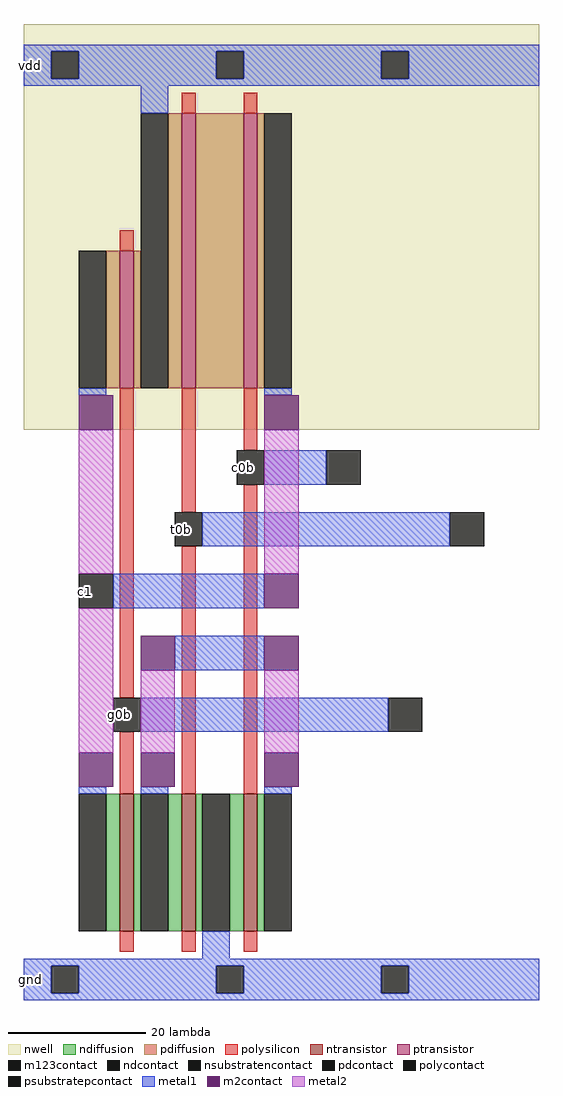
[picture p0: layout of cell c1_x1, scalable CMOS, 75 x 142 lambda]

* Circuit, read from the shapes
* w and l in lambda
.subckt c1_x1 c0b c1 g0b t0b vdd gnd
M1 n1 g0b c1 gnd nfet w=20 l=2
M2 gnd t0b n1 gnd nfet w=20 l=2
M3 n1 c0b gnd gnd nfet w=20 l=2
M4 vdd g0b c1 vdd pfet w=20 l=2
M5 n2 t0b vdd vdd pfet w=40 l=2
M6 c1 c0b n2 vdd pfet w=40 l=2
.ends

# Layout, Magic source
magic
tech scmos
<< nwell >>
rect 0 83 75 142
<< ntransistor >>
rect 14 10 16 30
rect 23 10 25 30
rect 32 10 34 30
<< ptransistor >>
rect 14 89 16 109
rect 23 89 25 129
rect 32 89 34 129
<< ndiffusion >>
rect 12 10 14 30
rect 16 10 17 30
rect 21 10 23 30
rect 25 10 26 30
rect 30 10 32 30
rect 34 10 35 30
<< pdiffusion >>
rect 12 89 14 109
rect 16 89 17 109
rect 21 89 23 129
rect 25 89 32 129
rect 34 89 35 129
<< ndcontact >>
rect 8 10 12 30
rect 17 10 21 30
rect 26 10 30 30
rect 35 10 39 30
<< pdcontact >>
rect 8 89 12 109
rect 17 89 21 129
rect 35 89 39 129
<< psubstratepcontact >>
rect 4 1 8 5
rect 28 1 32 5
rect 52 1 56 5
<< nsubstratencontact >>
rect 4 134 8 138
rect 28 134 32 138
rect 52 134 56 138
<< polysilicon >>
rect 23 129 25 132
rect 32 129 34 132
rect 14 109 16 112
rect 14 44 16 89
rect 23 71 25 89
rect 32 80 34 89
rect 14 30 16 39
rect 23 30 25 66
rect 32 30 34 75
rect 14 7 16 10
rect 23 7 25 10
rect 32 7 34 10
<< polycontact >>
rect 31 75 35 80
rect 22 66 26 71
rect 13 39 17 44
<< metal1 >>
rect 0 138 75 139
rect 0 134 4 138
rect 8 134 28 138
rect 32 134 52 138
rect 56 134 75 138
rect 0 133 75 134
rect 17 129 21 133
rect 8 88 12 89
rect 35 88 39 89
rect 35 75 44 80
rect 26 66 62 71
rect 13 57 35 62
rect 22 48 35 53
rect 17 39 53 44
rect 8 30 12 31
rect 17 30 21 31
rect 35 30 39 31
rect 26 6 30 10
rect 0 5 75 6
rect 0 1 4 5
rect 8 1 28 5
rect 32 1 52 5
rect 56 1 75 5
rect 0 0 75 1
<< m2contact >>
rect 8 83 13 88
rect 35 83 40 88
rect 35 57 40 62
rect 17 48 22 53
rect 35 48 40 53
rect 8 31 13 36
rect 17 31 22 36
rect 35 31 40 36
<< metal2 >>
rect 8 62 13 83
rect 35 62 40 83
rect 8 36 13 57
rect 17 36 22 48
rect 35 36 40 48
<< m123contact >>
rect 8 57 13 62
rect 44 75 49 80
rect 62 66 67 71
rect 53 39 58 44
<< labels >>
rlabel metal1 31 75 33 80 0 c0b
port 1 nsew
rlabel metal1 8 57 10 62 0 c1
port 2 nsew
rlabel metal1 13 39 15 44 0 g0b
port 3 nsew
rlabel metal1 22 66 24 71 0 t0b
port 4 nsew
rlabel metal1 0 133 2 139 0 vdd
port 5 nsew
rlabel metal1 0 0 2 6 0 gnd
port 6 nsew
<< end >>
